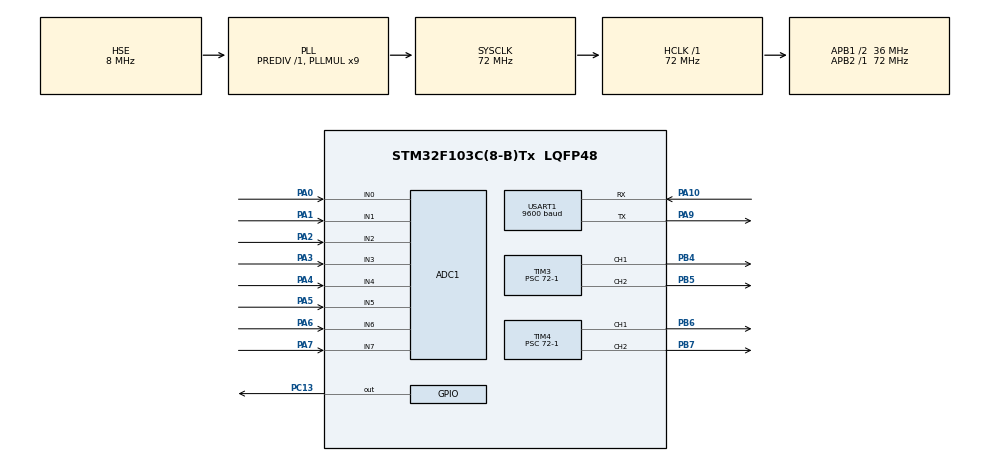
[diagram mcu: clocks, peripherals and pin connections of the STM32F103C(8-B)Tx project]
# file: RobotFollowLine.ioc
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ADC1.Channel-10\#ChannelRegularConversion=ADC_CHANNEL_2
ADC1.Channel-11\#ChannelRegularConversion=ADC_CHANNEL_3
ADC1.Channel-12\#ChannelRegularConversion=ADC_CHANNEL_4
ADC1.Channel-13\#ChannelRegularConversion=ADC_CHANNEL_5
ADC1.Channel-14\#ChannelRegularConversion=ADC_CHANNEL_6
ADC1.Channel-15\#ChannelRegularConversion=ADC_CHANNEL_7
ADC1.Channel-8\#ChannelRegularConversion=ADC_CHANNEL_0
ADC1.Channel-9\#ChannelRegularConversion=ADC_CHANNEL_1
ADC1.DiscontinuousConvMode=ENABLE
ADC1.NbrOfConversion=8
ADC1.NbrOfConversionFlag=1
ADC1.Rank-10\#ChannelRegularConversion=3
ADC1.Rank-11\#ChannelRegularConversion=4
ADC1.Rank-12\#ChannelRegularConversion=5
ADC1.Rank-13\#ChannelRegularConversion=6
ADC1.Rank-14\#ChannelRegularConversion=7
ADC1.Rank-15\#ChannelRegularConversion=8
ADC1.Rank-8\#ChannelRegularConversion=1
ADC1.Rank-9\#ChannelRegularConversion=2
ADC1.SamplingTime-10\#ChannelRegularConversion=ADC_SAMPLETIME_1CYCLE_5
ADC1.SamplingTime-11\#ChannelRegularConversion=ADC_SAMPLETIME_1CYCLE_5
ADC1.SamplingTime-12\#ChannelRegularConversion=ADC_SAMPLETIME_1CYCLE_5
ADC1.SamplingTime-13\#ChannelRegularConversion=ADC_SAMPLETIME_1CYCLE_5
ADC1.SamplingTime-14\#ChannelRegularConversion=ADC_SAMPLETIME_1CYCLE_5
ADC1.SamplingTime-15\#ChannelRegularConversion=ADC_SAMPLETIME_1CYCLE_5
ADC1.SamplingTime-8\#ChannelRegularConversion=ADC_SAMPLETIME_1CYCLE_5
ADC1.SamplingTime-9\#ChannelRegularConversion=ADC_SAMPLETIME_1CYCLE_5
ADC1.master=1
Dma.ADC1.0.Direction=DMA_PERIPH_TO_MEMORY
Dma.ADC1.0.Instance=DMA1_Channel1
Dma.ADC1.0.MemDataAlignment=DMA_MDATAALIGN_HALFWORD
Dma.ADC1.0.MemInc=DMA_MINC_ENABLE
Dma.ADC1.0.Mode=DMA_CIRCULAR
Dma.ADC1.0.PeriphDataAlignment=DMA_PDATAALIGN_HALFWORD
Dma.ADC1.0.PeriphInc=DMA_PINC_DISABLE
Dma.ADC1.0.Priority=DMA_PRIORITY_HIGH
Dma.Request0=ADC1
Mcu.Family=STM32F1
Mcu.Name=STM32F103C(8-B)Tx
Mcu.Package=LQFP48
NVIC.DMA1_Channel1_IRQn=true\:0\:0\:false\:false\:true\:false\:true\:true
NVIC.PriorityGroup=NVIC_PRIORITYGROUP_4
NVIC.TIM4_IRQn=true\:0\:0\:false\:false\:true\:true\:true\:true
NVIC.USART1_IRQn=true\:0\:0\:false\:false\:true\:true\:true\:true
PA0-WKUP.Signal=ADCx_IN0
PA1.Signal=ADCx_IN1
PA10.Mode=Asynchronous
PA10.Signal=USART1_RX
PA13.Mode=Serial_Wire
PA13.Signal=SYS_JTMS-SWDIO
PA14.Mode=Serial_Wire
PA14.Signal=SYS_JTCK-SWCLK
PA2.Signal=ADCx_IN2
PA3.Signal=ADCx_IN3
PA4.Signal=ADCx_IN4
PA5.Signal=ADCx_IN5
PA6.Signal=ADCx_IN6
PA7.Signal=ADCx_IN7
PA9.Mode=Asynchronous
PA9.Signal=USART1_TX
PB4.Signal=S_TIM3_CH1
PB5.Signal=S_TIM3_CH2
PB6.Signal=S_TIM4_CH1
PB7.Signal=S_TIM4_CH2
PC13-TAMPER-RTC.Signal=GPIO_Output
PD0-OSC_IN.Mode=HSE-External-Oscillator
PD0-OSC_IN.Signal=RCC_OSC_IN
PD1-OSC_OUT.Mode=HSE-External-Oscillator
PD1-OSC_OUT.Signal=RCC_OSC_OUT
ProjectManager.HeapSize=0x200
ProjectManager.StackSize=0x400
ProjectManager.TargetToolchain=MDK-ARM V5.32
RCC.ADCPresc=RCC_ADCPCLK2_DIV6
RCC.AHBFreq_Value=72000000
RCC.APB1CLKDivider=RCC_HCLK_DIV2
RCC.APB1Freq_Value=36000000
RCC.APB1TimFreq_Value=72000000
RCC.APB2Freq_Value=72000000
RCC.APB2TimFreq_Value=72000000
RCC.HCLKFreq_Value=72000000
RCC.PLLMUL=RCC_PLL_MUL9
RCC.PLLSourceVirtual=RCC_PLLSOURCE_HSE
RCC.SYSCLKFreq_VALUE=72000000
RCC.SYSCLKSource=RCC_SYSCLKSOURCE_PLLCLK
RCC.USBFreq_Value=72000000
SH.ADCx_IN0.0=ADC1_IN0,IN0
SH.ADCx_IN1.0=ADC1_IN1,IN1
SH.ADCx_IN2.0=ADC1_IN2,IN2
SH.ADCx_IN3.0=ADC1_IN3,IN3
SH.ADCx_IN4.0=ADC1_IN4,IN4
SH.ADCx_IN5.0=ADC1_IN5,IN5
SH.ADCx_IN6.0=ADC1_IN6,IN6
SH.ADCx_IN7.0=ADC1_IN7,IN7
SH.S_TIM3_CH1.0=TIM3_CH1,PWM Generation1 CH1
SH.S_TIM3_CH2.0=TIM3_CH2,PWM Generation2 CH2
SH.S_TIM4_CH1.0=TIM4_CH1,PWM Generation1 CH1
SH.S_TIM4_CH2.0=TIM4_CH2,PWM Generation2 CH2
TIM1.Period=0xffff-1
TIM1.Prescaler=72-1
TIM3.Channel-PWM\ Generation1\ CH1=TIM_CHANNEL_1
TIM3.Channel-PWM\ Generation2\ CH2=TIM_CHANNEL_2
TIM3.Period=999
TIM3.Prescaler=72-1
TIM4.Channel-PWM\ Generation1\ CH1=TIM_CHANNEL_1
TIM4.Channel-PWM\ Generation2\ CH2=TIM_CHANNEL_2
TIM4.Period=999
TIM4.Prescaler=72-1
USART1.BaudRate=9600
USART1.VirtualMode=VM_ASYNC
VP_TIM1_VS_ClockSourceINT.Mode=Internal
VP_TIM4_VS_ClockSourceINT.Mode=Internal
board=custom

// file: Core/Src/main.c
/* USER CODE BEGIN Header */
/**
  ******************************************************************************
  * @file           : main.c
  * @brief          : Main program body
  ******************************************************************************
  * @attention
  *
  * Copyright (c) 2024 STMicroelectronics.
  * All rights reserved.
  *
  * This software is licensed under terms that can be found in the LICENSE file
  * in the root directory of this software component.
  * If no LICENSE file comes with this software, it is provided AS-IS.
  *
  ******************************************************************************
  */
/* USER CODE END Header */
#include "main.h"

/* USER CODE BEGIN Includes */
#include "timeout.h"
#include "button.h"
#include "pid_line_following.h"
/* USER CODE END Includes */

ADC_HandleTypeDef hadc1;
DMA_HandleTypeDef hdma_adc1;

TIM_HandleTypeDef htim1;
TIM_HandleTypeDef htim3;
TIM_HandleTypeDef htim4;

UART_HandleTypeDef huart1;

/* USER CODE BEGIN PV */
TIM_HandleTypeDef htim3;

volatile uint16_t adcRaw[8]= {0}, adcAVGFillter[8] = {0}, adcCalibValue[8] = {0}, preAdc[8]={0};
volatile int num=0,denom=0;
//-35<=error<=35
int error = 0, pwmVal = 0;
PID_HandleTypeDef pid;
int pwm_left = 0;
int pwm_right = 0;
uint8_t stop=0;
/* USER CODE END PV */

void SystemClock_Config(void);
static void MX_GPIO_Init(void);
static void MX_DMA_Init(void);
static void MX_ADC1_Init(void);
static void MX_TIM4_Init(void);
static void MX_TIM1_Init(void);
static void MX_TIM3_Init(void);
static void MX_USART1_UART_Init(void);
/* USER CODE BEGIN PFP */
void readAndFillter(void);
void motor_control(int pos_left, int pos_right);
/* USER CODE END PFP */

/* USER CODE BEGIN 0 */
uint8_t rx_data;
uint8_t tx_data[20]="STM32 Hello Man!!\r\n";
void HAL_UART_RxCpltCallback(UART_HandleTypeDef *huart){
		if(huart->Instance == USART1){
				HAL_UART_Transmit(&huart1,&rx_data,sizeof(rx_data), 1);
				HAL_UART_Receive_IT(&huart1, &rx_data, 1);
		}
}
/* USER CODE END 0 */

int main(void)
{

  /* MCU Configuration--------------------------------------------------------*/

  /* Reset of all peripherals, Initializes the Flash interface and the Systick. */
  HAL_Init();

  /* Configure the system clock */
  SystemClock_Config();

  /* Initialize all configured peripherals */
  MX_GPIO_Init();
  MX_DMA_Init();
  MX_ADC1_Init();
  MX_TIM4_Init();
  MX_TIM1_Init();
  MX_TIM3_Init();
  MX_USART1_UART_Init();
  /* USER CODE BEGIN 2 */

	HAL_TIM_Base_Start(&htim1);
	HAL_TIM_PWM_Start(&htim3, TIM_CHANNEL_1);
	HAL_TIM_PWM_Start(&htim4, TIM_CHANNEL_1);
	HAL_TIM_PWM_Start(&htim3, TIM_CHANNEL_2);
	HAL_TIM_PWM_Start(&htim4, TIM_CHANNEL_2);

	__HAL_TIM_SET_COMPARE (&htim3, TIM_CHANNEL_1, 100);
	__HAL_TIM_SET_COMPARE (&htim3, TIM_CHANNEL_2, 100);
	__HAL_TIM_SET_COMPARE (&htim4, TIM_CHANNEL_1, 0);
	__HAL_TIM_SET_COMPARE (&htim4, TIM_CHANNEL_2, 0);
	HAL_Delay(2000);

	HAL_TIM_Base_Start_IT(&htim4);
	//							Kp		Ki		Kd
	PID_Init(&pid, 0.95f, 0.02f, 15, 0, 500, 0.001f);
//PID_Init(&pid, 0.25f, 0.02f, 15, 0, 1000, 0.001f);
//	PID_Init(&pid, 0.002, 0.001f, 15, 0, 1000, 0.001f);
	PID_SetSetpoint(&pid, 0.0f);
	HAL_UART_Transmit(&huart1,tx_data, sizeof(tx_data), 10);
	HAL_UART_Receive_IT(&huart1, &rx_data, 1);
  /* USER CODE END 2 */

  /* Infinite loop */
  while (1)
  {

    /* USER CODE BEGIN 3 */
//		motor_control(500,500);
		HAL_UART_Receive_IT(&huart1, &rx_data, 1);
		if(stop==0)
			motor_control(0,0);
		else if(rx_data){
			stop=1;
			readAndFillter();
		}else{
				continue;
		}
  }
  /* USER CODE END 3 */
}

void SystemClock_Config(void)
{
  RCC_OscInitTypeDef RCC_OscInitStruct = {0};
  RCC_ClkInitTypeDef RCC_ClkInitStruct = {0};
  RCC_PeriphCLKInitTypeDef PeriphClkInit = {0};

  /** Initializes the RCC Oscillators according to the specified parameters
  * in the RCC_OscInitTypeDef structure.
  */
  RCC_OscInitStruct.OscillatorType = RCC_OSCILLATORTYPE_HSE;
  RCC_OscInitStruct.HSEState = RCC_HSE_ON;
  RCC_OscInitStruct.HSEPredivValue = RCC_HSE_PREDIV_DIV1;
  RCC_OscInitStruct.HSIState = RCC_HSI_ON;
  RCC_OscInitStruct.PLL.PLLState = RCC_PLL_ON;
  RCC_OscInitStruct.PLL.PLLSource = RCC_PLLSOURCE_HSE;
  RCC_OscInitStruct.PLL.PLLMUL = RCC_PLL_MUL9;
  if (HAL_RCC_OscConfig(&RCC_OscInitStruct) != HAL_OK)
  {
    Error_Handler();
  }

  /** Initializes the CPU, AHB and APB buses clocks
  */
  RCC_ClkInitStruct.ClockType = RCC_CLOCKTYPE_HCLK|RCC_CLOCKTYPE_SYSCLK
                              |RCC_CLOCKTYPE_PCLK1|RCC_CLOCKTYPE_PCLK2;
  RCC_ClkInitStruct.SYSCLKSource = RCC_SYSCLKSOURCE_PLLCLK;
  RCC_ClkInitStruct.AHBCLKDivider = RCC_SYSCLK_DIV1;
  RCC_ClkInitStruct.APB1CLKDivider = RCC_HCLK_DIV2;
  RCC_ClkInitStruct.APB2CLKDivider = RCC_HCLK_DIV1;

  if (HAL_RCC_ClockConfig(&RCC_ClkInitStruct, FLASH_LATENCY_2) != HAL_OK)
  {
    Error_Handler();
  }
  PeriphClkInit.PeriphClockSelection = RCC_PERIPHCLK_ADC;
  PeriphClkInit.AdcClockSelection = RCC_ADCPCLK2_DIV6;
  if (HAL_RCCEx_PeriphCLKConfig(&PeriphClkInit) != HAL_OK)
  {
    Error_Handler();
  }
}

static void MX_ADC1_Init(void)
{

  ADC_ChannelConfTypeDef sConfig = {0};

  /** Common config
  */
  hadc1.Instance = ADC1;
  hadc1.Init.ScanConvMode = ADC_SCAN_ENABLE;
  hadc1.Init.ContinuousConvMode = DISABLE;
  hadc1.Init.DiscontinuousConvMode = ENABLE;
  hadc1.Init.NbrOfDiscConversion = 1;
  hadc1.Init.ExternalTrigConv = ADC_SOFTWARE_START;
  hadc1.Init.DataAlign = ADC_DATAALIGN_RIGHT;
  hadc1.Init.NbrOfConversion = 8;
  if (HAL_ADC_Init(&hadc1) != HAL_OK)
  {
    Error_Handler();
  }

  /** Configure Regular Channel
  */
  sConfig.Channel = ADC_CHANNEL_0;
  sConfig.Rank = ADC_REGULAR_RANK_1;
  sConfig.SamplingTime = ADC_SAMPLETIME_1CYCLE_5;
  if (HAL_ADC_ConfigChannel(&hadc1, &sConfig) != HAL_OK)
  {
    Error_Handler();
  }

  /** Configure Regular Channel
  */
  sConfig.Channel = ADC_CHANNEL_1;
  sConfig.Rank = ADC_REGULAR_RANK_2;
  if (HAL_ADC_ConfigChannel(&hadc1, &sConfig) != HAL_OK)
  {
    Error_Handler();
  }

  /** Configure Regular Channel
  */
  sConfig.Channel = ADC_CHANNEL_2;
  sConfig.Rank = ADC_REGULAR_RANK_3;
  if (HAL_ADC_ConfigChannel(&hadc1, &sConfig) != HAL_OK)
  {
    Error_Handler();
  }

  /** Configure Regular Channel
  */
  sConfig.Channel = ADC_CHANNEL_3;
  sConfig.Rank = ADC_REGULAR_RANK_4;
  if (HAL_ADC_ConfigChannel(&hadc1, &sConfig) != HAL_OK)
  {
    Error_Handler();
  }

  /** Configure Regular Channel
  */
  sConfig.Channel = ADC_CHANNEL_4;
  sConfig.Rank = ADC_REGULAR_RANK_5;
  if (HAL_ADC_ConfigChannel(&hadc1, &sConfig) != HAL_OK)
  {
    Error_Handler();
  }

  /** Configure Regular Channel
  */
  sConfig.Channel = ADC_CHANNEL_5;
  sConfig.Rank = ADC_REGULAR_RANK_6;
  if (HAL_ADC_ConfigChannel(&hadc1, &sConfig) != HAL_OK)
  {
    Error_Handler();
  }

  /** Configure Regular Channel
  */
  sConfig.Channel = ADC_CHANNEL_6;
  sConfig.Rank = ADC_REGULAR_RANK_7;
  if (HAL_ADC_ConfigChannel(&hadc1, &sConfig) != HAL_OK)
  {
    Error_Handler();
  }

  /** Configure Regular Channel
  */
  sConfig.Channel = ADC_CHANNEL_7;
  sConfig.Rank = ADC_REGULAR_RANK_8;
  if (HAL_ADC_ConfigChannel(&hadc1, &sConfig) != HAL_OK)
  {
    Error_Handler();
  }

}

static void MX_TIM1_Init(void)
{

  TIM_ClockConfigTypeDef sClockSourceConfig = {0};
  TIM_MasterConfigTypeDef sMasterConfig = {0};

  htim1.Instance = TIM1;
  htim1.Init.Prescaler = 72-1;
  htim1.Init.CounterMode = TIM_COUNTERMODE_UP;
  htim1.Init.Period = 0xffff-1;
  htim1.Init.ClockDivision = TIM_CLOCKDIVISION_DIV1;
  htim1.Init.RepetitionCounter = 0;
  htim1.Init.AutoReloadPreload = TIM_AUTORELOAD_PRELOAD_DISABLE;
  if (HAL_TIM_Base_Init(&htim1) != HAL_OK)
  {
    Error_Handler();
  }
  sClockSourceConfig.ClockSource = TIM_CLOCKSOURCE_INTERNAL;
  if (HAL_TIM_ConfigClockSource(&htim1, &sClockSourceConfig) != HAL_OK)
  {
    Error_Handler();
  }
  sMasterConfig.MasterOutputTrigger = TIM_TRGO_RESET;
  sMasterConfig.MasterSlaveMode = TIM_MASTERSLAVEMODE_DISABLE;
  if (HAL_TIMEx_MasterConfigSynchronization(&htim1, &sMasterConfig) != HAL_OK)
  {
    Error_Handler();
  }

}

static void MX_TIM3_Init(void)
{

  TIM_MasterConfigTypeDef sMasterConfig = {0};
  TIM_OC_InitTypeDef sConfigOC = {0};

  htim3.Instance = TIM3;
  htim3.Init.Prescaler = 72-1;
  htim3.Init.CounterMode = TIM_COUNTERMODE_UP;
  htim3.Init.Period = 999;
  htim3.Init.ClockDivision = TIM_CLOCKDIVISION_DIV1;
  htim3.Init.AutoReloadPreload = TIM_AUTORELOAD_PRELOAD_DISABLE;
  if (HAL_TIM_PWM_Init(&htim3) != HAL_OK)
  {
    Error_Handler();
  }
  sMasterConfig.MasterOutputTrigger = TIM_TRGO_RESET;
  sMasterConfig.MasterSlaveMode = TIM_MASTERSLAVEMODE_DISABLE;
  if (HAL_TIMEx_MasterConfigSynchronization(&htim3, &sMasterConfig) != HAL_OK)
  {
    Error_Handler();
  }
  sConfigOC.OCMode = TIM_OCMODE_PWM1;
  sConfigOC.Pulse = 0;
  sConfigOC.OCPolarity = TIM_OCPOLARITY_HIGH;
  sConfigOC.OCFastMode = TIM_OCFAST_DISABLE;
  if (HAL_TIM_PWM_ConfigChannel(&htim3, &sConfigOC, TIM_CHANNEL_1) != HAL_OK)
  {
    Error_Handler();
  }
  if (HAL_TIM_PWM_ConfigChannel(&htim3, &sConfigOC, TIM_CHANNEL_2) != HAL_OK)
  {
    Error_Handler();
  }
  HAL_TIM_MspPostInit(&htim3);

}

static void MX_TIM4_Init(void)
{

  TIM_ClockConfigTypeDef sClockSourceConfig = {0};
  TIM_MasterConfigTypeDef sMasterConfig = {0};
  TIM_OC_InitTypeDef sConfigOC = {0};

  htim4.Instance = TIM4;
  htim4.Init.Prescaler = 72-1;
  htim4.Init.CounterMode = TIM_COUNTERMODE_UP;
  htim4.Init.Period = 999;
  htim4.Init.ClockDivision = TIM_CLOCKDIVISION_DIV1;
  htim4.Init.AutoReloadPreload = TIM_AUTORELOAD_PRELOAD_DISABLE;
  if (HAL_TIM_Base_Init(&htim4) != HAL_OK)
  {
    Error_Handler();
  }
  sClockSourceConfig.ClockSource = TIM_CLOCKSOURCE_INTERNAL;
  if (HAL_TIM_ConfigClockSource(&htim4, &sClockSourceConfig) != HAL_OK)
  {
    Error_Handler();
  }
  if (HAL_TIM_PWM_Init(&htim4) != HAL_OK)
  {
    Error_Handler();
  }
  sMasterConfig.MasterOutputTrigger = TIM_TRGO_RESET;
  sMasterConfig.MasterSlaveMode = TIM_MASTERSLAVEMODE_DISABLE;
  if (HAL_TIMEx_MasterConfigSynchronization(&htim4, &sMasterConfig) != HAL_OK)
  {
    Error_Handler();
  }
  sConfigOC.OCMode = TIM_OCMODE_PWM1;
  sConfigOC.Pulse = 0;
  sConfigOC.OCPolarity = TIM_OCPOLARITY_HIGH;
  sConfigOC.OCFastMode = TIM_OCFAST_DISABLE;
  if (HAL_TIM_PWM_ConfigChannel(&htim4, &sConfigOC, TIM_CHANNEL_1) != HAL_OK)
  {
    Error_Handler();
  }
  if (HAL_TIM_PWM_ConfigChannel(&htim4, &sConfigOC, TIM_CHANNEL_2) != HAL_OK)
  {
    Error_Handler();
  }
  HAL_TIM_MspPostInit(&htim4);

}

static void MX_USART1_UART_Init(void)
{

  huart1.Instance = USART1;
  huart1.Init.BaudRate = 9600;
  huart1.Init.WordLength = UART_WORDLENGTH_8B;
  huart1.Init.StopBits = UART_STOPBITS_1;
  huart1.Init.Parity = UART_PARITY_NONE;
  huart1.Init.Mode = UART_MODE_TX_RX;
  huart1.Init.HwFlowCtl = UART_HWCONTROL_NONE;
  huart1.Init.OverSampling = UART_OVERSAMPLING_16;
  if (HAL_UART_Init(&huart1) != HAL_OK)
  {
    Error_Handler();
  }

}

static void MX_DMA_Init(void)
{

  /* DMA controller clock enable */
  __HAL_RCC_DMA1_CLK_ENABLE();

  /* DMA interrupt init */
  /* DMA1_Channel1_IRQn interrupt configuration */
  HAL_NVIC_SetPriority(DMA1_Channel1_IRQn, 0, 0);
  HAL_NVIC_EnableIRQ(DMA1_Channel1_IRQn);

}

static void MX_GPIO_Init(void)
{
  GPIO_InitTypeDef GPIO_InitStruct = {0};

  /* GPIO Ports Clock Enable */
  __HAL_RCC_GPIOC_CLK_ENABLE();
  __HAL_RCC_GPIOD_CLK_ENABLE();
  __HAL_RCC_GPIOA_CLK_ENABLE();
  __HAL_RCC_GPIOB_CLK_ENABLE();

  /*Configure GPIO pin Output Level */
  HAL_GPIO_WritePin(GPIOC, GPIO_PIN_13, GPIO_PIN_RESET);

  /*Configure GPIO pin : PC13 */
  GPIO_InitStruct.Pin = GPIO_PIN_13;
  GPIO_InitStruct.Mode = GPIO_MODE_OUTPUT_PP;
  GPIO_InitStruct.Pull = GPIO_NOPULL;
  GPIO_InitStruct.Speed = GPIO_SPEED_FREQ_LOW;
  HAL_GPIO_Init(GPIOC, &GPIO_InitStruct);

/* USER CODE BEGIN MX_GPIO_Init_2 */
	GPIO_InitStruct.Pin = GPIO_PIN_6|GPIO_PIN_7;
	GPIO_InitStruct.Mode = GPIO_MODE_AF_PP;
	GPIO_InitStruct.Speed = GPIO_SPEED_FREQ_LOW;
	HAL_GPIO_Init(GPIOA, &GPIO_InitStruct);
/* USER CODE END MX_GPIO_Init_2 */
}

/* USER CODE BEGIN 4 */
void motor_control(int pos_left, int pos_right)
{
	if (pos_left < 0 )
	{
		__HAL_TIM_SET_COMPARE (&htim3, TIM_CHANNEL_1, 0);
		__HAL_TIM_SET_COMPARE (&htim3, TIM_CHANNEL_2, pos_left);
	}
	else
	{
		__HAL_TIM_SET_COMPARE (&htim3, TIM_CHANNEL_1, pos_left);
		__HAL_TIM_SET_COMPARE (&htim3, TIM_CHANNEL_2, 0);
	}
	if (pos_right < 0 )
	{
		__HAL_TIM_SET_COMPARE (&htim4, TIM_CHANNEL_1, 0);
		__HAL_TIM_SET_COMPARE (&htim4, TIM_CHANNEL_2, pos_right);
	}
	else
	{
		__HAL_TIM_SET_COMPARE (&htim4, TIM_CHANNEL_1, pos_right);
		__HAL_TIM_SET_COMPARE (&htim4, TIM_CHANNEL_2, 0);
	}
}

void calculateError()
{
	 num=denom=0;

	for(uint16_t j = 0; j < 8; j++){
		if (adcAVGFillter[j] > 3550) {
			num += (j + 1) * 100; // 1000, 2000, ... 8000 tuong ung voi index
			denom++;
		}
	}
	 error = (450- ((num/denom)));

	if(denom==8){
		error=1000;
	}
	else if(denom==0)
		error=pid.prev_error;
}

long map(long x, long in_min, long in_max, long out_min, long out_max)
{
	return ((x - in_min) * (out_max - out_min)) / ((in_max - in_min) + out_min);
}

void calibValueADC(uint16_t calibCount)
{
	static uint32_t adcSum[8] = {0};
	HAL_ADC_Start_DMA(&hadc1, (uint32_t *) adcRaw,8);
	for(uint8_t i = 0; i<8 ; i++)
	{
		adcSum[i]+=adcRaw[i];
	}

	if(calibCount >= 1000)
	{
		for(uint8_t i = 0; i<8 ; i++)
		{
			adcCalibValue[i] = adcSum[i]/calibCount;
			adcSum[i] = 0;
		}
	}
}

void readAndFillter(void)
{

	static uint8_t countTime = 0;
	countTime ++;
//	HAL_ADC_Start_DMA(&hadc1, (uint32_t *) adcRaw,8);

	for(uint8_t i = 0; i<8 ; i++)
	{
		adcAVGFillter[i] = adcRaw[i];
	}
	calculateError();
	PID_Compute(&pid, error, &pwm_left, &pwm_right);
//	PWM_SetDutyCycle(&hpwm1, pwm_left);
//	PWM_SetDutyCycle(&hpwm2, pwm_right);
	motor_control(pwm_right,pwm_left);
	if(countTime >= 70)
	{
//		HAL_GPIO_TogglePin(GPIOC, GPIO_PIN_13);
		countTime = 0;
	}
}

void HAL_TIM_PeriodElapsedCallback(TIM_HandleTypeDef *htim)
{
	static uint16_t runCalib = 0, flagFillter = 0;

		if(htim->Instance == TIM4)
		{
			if(flagFillter == 1)
			{
				readAndFillter();
			}
			else
			{
				runCalib++;
				calibValueADC(runCalib);
				if(runCalib>=1000)
				{
					flagFillter = 1;
				}
			}
		}
}

/* USER CODE END 4 */

void Error_Handler(void)
{
  __disable_irq();
  while (1)
  {
  }
}
